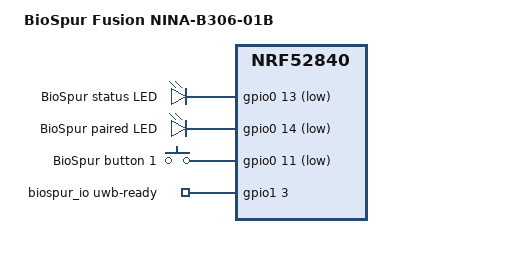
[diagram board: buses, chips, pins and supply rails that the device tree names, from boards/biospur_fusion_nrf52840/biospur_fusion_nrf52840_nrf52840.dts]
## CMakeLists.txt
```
cmake_minimum_required(VERSION 3.20.0)

find_package(Zephyr REQUIRED HINTS $ENV{ZEPHYR_BASE})
project(biospur_fusion_b306)

set(BSF_TIMER_COUNTER_BITS 32)
if(DEFINED ENV{BSF_TIMER_COUNTER_BITS})
  set(BSF_TIMER_COUNTER_BITS "$ENV{BSF_TIMER_COUNTER_BITS}")
endif()
if(NOT BSF_TIMER_COUNTER_BITS MATCHES "^(16|24|32)$")
  message(FATAL_ERROR
          "BSF_TIMER_COUNTER_BITS must be exactly 16, 24, or 32")
endif()

# Canonical firmware versions are decimal integers with no suffix. A changed
# image must increment this marker and firmware/VERSION together.
set(BSF_FW_MARKER "b306-imu-relay-v47")
if(DEFINED ENV{BSF_FW_MARKER})
  set(BSF_FW_MARKER "$ENV{BSF_FW_MARKER}")
endif()

# Generated from the complete build-input manifest. There is deliberately no
# default: a production image without an immutable identity must not build.
if(NOT DEFINED ENV{BSF_FWID})
  message(FATAL_ERROR "BSF_FWID is required; generate the OTA build manifest first")
endif()
set(BSF_FWID "$ENV{BSF_FWID}")
string(LENGTH "${BSF_FWID}" BSF_FWID_LENGTH)
if(NOT BSF_FWID MATCHES "^[0-9a-f]+$" OR NOT BSF_FWID_LENGTH EQUAL 64)
  message(FATAL_ERROR "BSF_FWID must be exactly 64 lowercase hexadecimal characters")
endif()

# ---------------------------------------------------------------------------
# v45 flash persistence (section 9).
#
# DEFAULT 0, and that is a finding, not an oversight. CONTEXT_AUDIT item 11:
# the deployed pm_static.yml tiles the whole 1 MiB with ZERO bytes free, and the
# only carve that overlaps nothing requires rebuilding and SWD-reflashing
# MCUboot on every board -- which Stage C, being OTA-only, cannot do. The
# implementation is complete and compiles; enabling it is a deliberate SWD
# campaign paired with pm_static_v45_corpse.yml, not a flag flip.
set(BSF_CORPSE_FLASH_ENABLED "0")
if(DEFINED ENV{BSF_CORPSE_FLASH_ENABLED})
  set(BSF_CORPSE_FLASH_ENABLED "$ENV{BSF_CORPSE_FLASH_ENABLED}")
endif()
if(NOT BSF_CORPSE_FLASH_ENABLED MATCHES "^[01]$")
  message(FATAL_ERROR "BSF_CORPSE_FLASH_ENABLED must be exactly 0 or 1")
endif()

# Fault injection has exactly ONE switch, and it is the Kconfig symbol
# CONFIG_BSF_V45_FAULT_INJECT (see Kconfig), set by overlay-validation.conf.
#
# It used to have two: a Kconfig symbol AND a CMake variable of the same name
# exported as a compile definition, with the C code guarding on the latter.
# Setting CONFIG_BSF_V45_FAULT_INJECT=y in a conf file therefore did NOTHING,
# silently, while looking exactly like it had worked. Two switches for one
# behaviour with only one of them wired is precisely the "looks configured,
# isn't" trap this project keeps paying for, so the CMake half is gone.
#
# The upside of keeping the Kconfig half rather than the CMake half: the
# setting lands in the build's own .config, so "production and validation
# differ only by the injection code" is a diffable fact rather than a claim.
if(CONFIG_BSF_V45_FAULT_INJECT)
  message(WARNING
    "CONFIG_BSF_V45_FAULT_INJECT=y: this image can DELIBERATELY INDUCE the "
    "wedge. Single-canary Stage B only -- never a fleet image.")
endif()

set(BSF_BOOT_CONFIRM_ENABLED "1")
if(DEFINED ENV{BSF_BOOT_CONFIRM_ENABLED})
  set(BSF_BOOT_CONFIRM_ENABLED "$ENV{BSF_BOOT_CONFIRM_ENABLED}")
endif()
if(NOT BSF_BOOT_CONFIRM_ENABLED MATCHES "^[01]$")
  message(FATAL_ERROR "BSF_BOOT_CONFIRM_ENABLED must be exactly 0 or 1")
endif()


# ---------------------------------------------------------------------------
# v43: the Bluetooth host carries stage instrumentation applied as a patch to
# the SHARED SDK at $ENV{ZEPHYR_BASE}. Refuse to build unless it is applied and
# hashes exactly. An image built against an unpatched host would look normal,
# link (the capture symbol would be missing -- but only at link time, and only
# if something references it), and silently produce blank corpses in the field.
# Gate before compiling, not after.
#
# v45 extends this to FIVE files across TWO roots (zephyr and nrf), so the
# manager moved to patches/sdk_patch.sh. The gate is unchanged in spirit: refuse
# to compile against an SDK that is neither exactly pristine nor exactly ours.
execute_process(
  COMMAND ${CMAKE_CURRENT_SOURCE_DIR}/patches/sdk_patch.sh verify
  RESULT_VARIABLE BSF_HOST_PATCH_RC
  OUTPUT_VARIABLE BSF_HOST_PATCH_OUT
  ERROR_VARIABLE  BSF_HOST_PATCH_ERR)
if(NOT BSF_HOST_PATCH_RC EQUAL 0)
  message(FATAL_ERROR
    "SDK instrumentation patch is not applied or does not hash correctly.\n"
    "  ${BSF_HOST_PATCH_ERR}\n"
    "  Run: B306_Part/firmware/patches/sdk_patch.sh apply")
endif()
message(STATUS "BSF SDK patch: ${BSF_HOST_PATCH_OUT}")

target_sources(app PRIVATE
  src/main.c
  src/imu.c
  src/strobe_capture.c
  src/bsf_v45.c
  src/bsf_recovery.c
  src/bsf_reset_intent.c
  src/bsf_v45_pools.c
)
target_include_directories(app PRIVATE
  ${CMAKE_CURRENT_SOURCE_DIR}/../include
  ${ZEPHYR_MCUBOOT_MODULE_DIR}/boot/bootutil/include
  ${ZEPHYR_MCUBOOT_MODULE_DIR}/boot/bootutil/zephyr/include
  ${ZEPHYR_MCUBOOT_MODULE_DIR}/boot/zephyr/include
)
# Global, not app-private: subsys/bluetooth/host/conn.c is built as part of
# a Zephyr library and resolves <bsf_bt_stage.h> through zephyr_interface.
zephyr_include_directories(${CMAKE_CURRENT_SOURCE_DIR}/src)
zephyr_include_directories(${CMAKE_CURRENT_SOURCE_DIR}/../include)
target_compile_definitions(app PRIVATE
	BSF_TIMER_COUNTER_BITS=${BSF_TIMER_COUNTER_BITS}
	BSF_FW_MARKER="${BSF_FW_MARKER}"
	BSF_FWID="${BSF_FWID}"
	BSF_BOOT_CONFIRM_ENABLED=${BSF_BOOT_CONFIRM_ENABLED}
	BSF_CORPSE_FLASH_ENABLED=${BSF_CORPSE_FLASH_ENABLED}
)
```

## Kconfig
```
# B306 application Kconfig.
#
# WHY AN APPLICATION Kconfig EXISTS AT ALL
# ----------------------------------------
# ~/ncs/v2.8.0 is a SHARED SDK install, compiled by every project that builds
# against it -- the Fusion Master DK image included. v45 patches five SDK files,
# and section 14 requires that "unrelated SDK consumers must still compile with
# instrumentation neutralized (guard everything behind a dedicated Kconfig,
# default n, selected only by the B306 app)".
#
# An application Kconfig is exactly that mechanism: symbols defined here land in
# autoconf.h, which every compiled file in the build sees -- including the
# patched SDK ones. A project that does not define BSF_V45_TRACE gets the
# neutralised macros and byte-identical object code.
#
# The patched files additionally test __has_include(<bsf_v45_trace.h>), which
# only this application puts on the global include path. Belt and braces: either
# condition failing disables the instrumentation completely.

menu "BioSpur Fusion B306"

config BSF_V45_TRACE
	bool "v45 four-channel BT trace instrumentation"
	default n
	help
	  Enables the BSF_V45_* markers in the patched NCS Bluetooth host and
	  SoftDevice Controller HCI driver, the four single-writer trace
	  channels, the dual-watermark wedge detector and the v45 corpse.

	  Leave this off for every project other than the B306 application.
	  With it off, every marker collapses to ((void)0) and the patched SDK
	  files produce the same object code as the pristine ones.

config BSF_V45_FAULT_INJECT
	bool "v45 fault-injection hooks (VALIDATION BUILDS ONLY)"
	default n
	depends on BSF_V45_TRACE
	help
	  Compiles in the V45 LEAK / V45 LEAK OFF vendor commands, which take
	  and release the singleton sync_evt_pool buffer.

	  This deliberately induces the suspected failure. It must never be
	  enabled in a fleet image. Stage B uses it on a single canary board to
	  prove the starvation -> phenotype consequence chain; that is a
	  different claim from "real wedges begin this way", and the run brief
	  must not conflate them.

endmenu

source "Kconfig.zephyr"
```

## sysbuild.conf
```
# The first and every later B306 image boots through MCUboot.
SB_CONFIG_BOOTLOADER_MCUBOOT=y
SB_CONFIG_BOOT_SIGNATURE_TYPE_ECDSA_P256=y
SB_CONFIG_BOOT_SIGNATURE_KEY_FILE="/home/zekaixiao/.config/biospur/keys/b306_mcuboot_ec_p256.pem"
```

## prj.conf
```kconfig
# B306 UART bridge: signed MCUboot + BLE SMP + DWM1001C UART ingest.
CONFIG_GPIO=y
CONFIG_SERIAL=y
CONFIG_UART_ASYNC_API=y
CONFIG_RING_BUFFER=y
CONFIG_I2C=y
CONFIG_NRFX_PPI=y
CONFIG_NRFX_TIMER2=y
CONFIG_WATCHDOG=y

CONFIG_BOOTLOADER_MCUBOOT=y
CONFIG_DISABLE_FLASH_PATCH=y
CONFIG_FLASH=y
CONFIG_FLASH_MAP=y
CONFIG_STREAM_FLASH=y
CONFIG_IMG_MANAGER=y

CONFIG_NET_BUF=y
CONFIG_ZCBOR=y
CONFIG_CRC=y
CONFIG_MCUMGR=y
CONFIG_MCUMGR_GRP_IMG=y
CONFIG_MCUMGR_GRP_OS=y
CONFIG_MCUMGR_GRP_OS_MCUMGR_PARAMS=y
CONFIG_MCUMGR_TRANSPORT_BT=y
CONFIG_MCUMGR_TRANSPORT_BT_PERM_RW=y
CONFIG_MCUMGR_TRANSPORT_BT_CONN_PARAM_CONTROL=y
CONFIG_MCUMGR_TRANSPORT_BT_REASSEMBLY=y
CONFIG_MCUMGR_TRANSPORT_NETBUF_SIZE=2048
CONFIG_MCUMGR_TRANSPORT_WORKQUEUE_STACK_SIZE=4096

CONFIG_BT=y
CONFIG_BT_PERIPHERAL=y
CONFIG_BT_MAX_CONN=1
CONFIG_NET_BUF_POOL_USAGE=y
CONFIG_BT_DEVICE_NAME="BSF0000"
CONFIG_BT_DEVICE_NAME_DYNAMIC=y
CONFIG_BT_DEVICE_NAME_MAX=8
CONFIG_BT_GAP_PERIPHERAL_PREF_PARAMS=y
# Match the established fast OTA path. ATT can carry a 448-byte SMP chunk;
# Link Layer DLE remains 251 bytes and L2CAP segments the larger ATT PDU.
CONFIG_BT_L2CAP_TX_MTU=498
CONFIG_BT_BUF_ACL_RX_SIZE=502
CONFIG_BT_BUF_ACL_TX_SIZE=502
CONFIG_BT_CTLR_DATA_LENGTH_MAX=251
CONFIG_BT_USER_PHY_UPDATE=y
CONFIG_BT_USER_DATA_LEN_UPDATE=y
CONFIG_BT_ATT_TX_COUNT=8
CONFIG_BT_L2CAP_TX_BUF_COUNT=8
CONFIG_BT_BUF_ACL_TX_COUNT=8
CONFIG_BT_CTLR_SDC_TX_PACKET_COUNT=6

CONFIG_LOG=y
CONFIG_LOG_DEFAULT_LEVEL=3
CONFIG_LOG_MODE_DEFERRED=y
CONFIG_LOG_BACKEND_RTT=y
CONFIG_LOG_BACKEND_RTT_MODE_DROP=y
CONFIG_LOG_BACKEND_UART=n
CONFIG_USE_SEGGER_RTT=y
CONFIG_SEGGER_RTT_MODE_NO_BLOCK_SKIP=y
CONFIG_CONSOLE=y
CONFIG_RTT_CONSOLE=y
CONFIG_UART_CONSOLE=n
CONFIG_PRINTK=y

# No production B306 code calls the C allocator.  Keep this explicit so a
# build can never consume an unbounded "all remaining RAM" arena.
CONFIG_COMMON_LIBC_MALLOC_ARENA_SIZE=0
CONFIG_HEAP_MEM_POOL_SIZE=0

CONFIG_MAIN_STACK_SIZE=2048
CONFIG_SYSTEM_WORKQUEUE_STACK_SIZE=3072
CONFIG_LOG_PROCESS_THREAD_STACK_SIZE=1024

# Runtime stack high-water reporting is required before any stack is reduced.
CONFIG_THREAD_ANALYZER=y
CONFIG_THREAD_ANALYZER_USE_LOG=y
CONFIG_THREAD_ANALYZER_AUTO=y
CONFIG_THREAD_ANALYZER_AUTO_INTERVAL=60
CONFIG_THREAD_ANALYZER_AUTO_STACK_SIZE=1024
CONFIG_THREAD_NAME=y

# --- v45 -------------------------------------------------------------------
# The dedicated Kconfig of section 14. Only this application sets it; every
# other consumer of the shared SDK compiles the patched files with every marker
# neutralised.
CONFIG_BSF_V45_TRACE=y

# The detector must not fire during a DFU. A 4.1 s bt_gatt_notify() was measured
# during one, and an upload monopolises the same ATT bearer the notifications
# use. These two hooks let MCUmgr say so directly instead of us inferring it
# from pool occupancy, which would be an indirect and racy proxy.
CONFIG_MCUMGR_MGMT_NOTIFICATION_HOOKS=y
CONFIG_MCUMGR_GRP_IMG_STATUS_HOOKS=y
```

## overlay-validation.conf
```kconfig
# Stage B validation overlay -- SINGLE CANARY ONLY (BSF6C53).
#
# The ONLY difference from the production v45 image. Everything else -- the four
# trace channels, the dual-watermark detector, the corpse, the frozen buffer
# counts -- is identical, and `diff` over the two builds' .config files is the
# proof rather than the claim.
#
# What this adds: the V45 LEAK / V45 LEAK OFF vendor commands, which take and
# release the singleton sync_evt_pool buffer. That deliberately induces the
# suspected failure. An image carrying it must never reach the fleet, and the
# build prints a WARNING saying so.
CONFIG_BSF_V45_FAULT_INJECT=y
```

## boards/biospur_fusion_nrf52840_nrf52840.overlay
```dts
&uwb_uart {
	/* Existing PCB wiring: RX=P1.01, TX=P1.02. */
	status = "okay";
};

&imu_i2c {
	/* Existing PCB wiring: SDA=P0.26, SCL=P0.27, 400 kHz. */
	status = "okay";
};
```

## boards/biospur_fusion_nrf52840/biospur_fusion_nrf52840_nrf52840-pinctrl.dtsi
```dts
/*
 * BioSpur Fusion NINA-B306 pin control
 *
 * SPDX-License-Identifier: Apache-2.0
 */

&pinctrl {
	uwb_uart_default: uwb_uart_default {
		tx_group {
			/* NINA GPIO_36: B306 TX toward DWM1001C UART_RX. */
			psels = <NRF_PSEL(UART_TX, 1, 2)>;
		};

		rx_group {
			/* NINA GPIO_35: B306 RX from DWM1001C UART_TX. */
			psels = <NRF_PSEL(UART_RX, 1, 1)>;
			bias-pull-up;
		};
	};

	uwb_uart_sleep: uwb_uart_sleep {
		group1 {
			psels = <NRF_PSEL(UART_TX, 1, 2)>,
				<NRF_PSEL(UART_RX, 1, 1)>;
			low-power-enable;
		};
	};

	imu_i2c_default: imu_i2c_default {
		group1 {
			/*
			 * B306 nRF52840 P0.26 is JY61P SDA.
			 * Do not confuse it with DWM1001C nRF52832 P0.26,
			 * which is the sweep-strobe output on the other MCU.
			 */
			psels = <NRF_PSEL(TWIM_SDA, 0, 26)>,
				<NRF_PSEL(TWIM_SCL, 0, 27)>;
		};
	};

	imu_i2c_sleep: imu_i2c_sleep {
		group1 {
			psels = <NRF_PSEL(TWIM_SDA, 0, 26)>,
				<NRF_PSEL(TWIM_SCL, 0, 27)>;
			low-power-enable;
		};
	};
};
```

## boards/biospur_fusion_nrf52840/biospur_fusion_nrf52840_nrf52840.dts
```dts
/*
 * BioSpur Fusion PCB: u-blox NINA-B306-01B (nRF52840)
 *
 * SPDX-License-Identifier: Apache-2.0
 */

/dts-v1/;
#include <nordic/nrf52840_qiaa.dtsi>
#include <nordic/nrf52840_partition.dtsi>
#include "biospur_fusion_nrf52840_nrf52840-pinctrl.dtsi"
#include <zephyr/dt-bindings/input/input-event-codes.h>

/ {
	model = "BioSpur Fusion NINA-B306-01B";
	compatible = "biospur,fusion-nrf52840";

	/*
	 * These aliases describe physical PCB wiring. The UART and I2C
	 * controllers remain disabled in the first DFU image and are enabled
	 * only by the later ingest firmware.
	 */
	aliases {
		led0 = &status_led;
		led1 = &paired_led;
		sw0 = &button_1;
		uwb-uart = &uwb_uart;
		imu-i2c = &imu_i2c;
	};

	leds {
		compatible = "gpio-leds";

		status_led: status_led {
			/* NINA GPIO_1; LED and 220 ohm resistor return to +3V3. */
			gpios = <&gpio0 13 GPIO_ACTIVE_LOW>;
			label = "BioSpur status LED";
		};

		paired_led: paired_led {
			/* NINA GPIO_2 -> nRF52840 P0.14; same active-low PCB LED. */
			gpios = <&gpio0 14 GPIO_ACTIVE_LOW>;
			label = "BioSpur paired LED";
		};
	};

	buttons {
		compatible = "gpio-keys";

		button_1: button_1 {
			/* NINA GPIO_32. */
			gpios = <&gpio0 11 (GPIO_PULL_UP | GPIO_ACTIVE_LOW)>;
			label = "BioSpur button 1";
			zephyr,code = <INPUT_KEY_0>;
		};
	};

	biospur_io: biospur_io {
		compatible = "zephyr,user";

		/* NINA GPIO_37: sweep strobe input from DWM1001C P0.26. */
		uwb-ready-gpios = <&gpio1 3 GPIO_ACTIVE_HIGH>;
	};
};

&reg1 {
	regulator-initial-mode = <NRF5X_REG_MODE_DCDC>;
};

&uicr {
	gpio-as-nreset;
};

&gpiote {
	status = "okay";
};

&gpio0 {
	status = "okay";
};

&gpio1 {
	status = "okay";
};

uwb_uart: &uart1 {
	compatible = "nordic,nrf-uarte";
	current-speed = <460800>;
	pinctrl-0 = <&uwb_uart_default>;
	pinctrl-1 = <&uwb_uart_sleep>;
	pinctrl-names = "default", "sleep";
	status = "disabled";
};

imu_i2c: &i2c0 {
	compatible = "nordic,nrf-twim";
	clock-frequency = <I2C_BITRATE_FAST>;
	pinctrl-0 = <&imu_i2c_default>;
	pinctrl-1 = <&imu_i2c_sleep>;
	pinctrl-names = "default", "sleep";
	status = "disabled";
};
```

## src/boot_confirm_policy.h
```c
#ifndef BIOSPUR_BOOT_CONFIRM_POLICY_H_
#define BIOSPUR_BOOT_CONFIRM_POLICY_H_

#include <stdbool.h>
#include <stdint.h>

struct bsf_boot_confirm_policy {
	uint32_t token;
	bool required;
	bool prepared;
	bool committed;
};

static inline void bsf_boot_confirm_policy_init(
	struct bsf_boot_confirm_policy *policy, bool image_confirmed)
{
	*policy = (struct bsf_boot_confirm_policy) {
		.required = !image_confirmed,
	};
}

static inline bool bsf_boot_confirm_policy_prepare(
	struct bsf_boot_confirm_policy *policy, bool connected, bool subscribed,
	uint32_t token)
{
	if (!policy->required || !connected || !subscribed || token == 0u) {
		return false;
	}
	policy->token = token;
	policy->prepared = true;
	policy->committed = false;
	return true;
}

static inline bool bsf_boot_confirm_policy_commit(
	struct bsf_boot_confirm_policy *policy, uint32_t token)
{
	if (!policy->required || !policy->prepared || token != policy->token) {
		return false;
	}
	policy->committed = true;
	return true;
}

static inline bool bsf_boot_confirm_policy_may_confirm(
	const struct bsf_boot_confirm_policy *policy, bool connected,
	bool subscribed)
{
	return policy->required && policy->prepared && policy->committed &&
		connected && subscribed;
}

#endif /* BIOSPUR_BOOT_CONFIRM_POLICY_H_ */
```

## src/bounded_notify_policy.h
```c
#ifndef BIOSPUR_BOUNDED_NOTIFY_POLICY_H
#define BIOSPUR_BOUNDED_NOTIFY_POLICY_H

#include <stdbool.h>
#include <stdint.h>

struct bsf_bounded_notify_policy {
	bool worker_busy;
	bool fast_drop;
	uint32_t submitted;
	uint32_t timeout_drops;
};

static inline bool bsf_notify_submit(struct bsf_bounded_notify_policy *state)
{
	if (state->worker_busy) {
		state->timeout_drops++;
		state->fast_drop = true;
		return false;
	}
	state->worker_busy = true;
	state->submitted++;
	return true;
}

static inline void bsf_notify_complete(struct bsf_bounded_notify_policy *state)
{
	state->worker_busy = false;
	state->fast_drop = false;
}

#endif
```

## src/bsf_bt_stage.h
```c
/*
 * BT RX stage instrumentation -- v43 (batch v43_selfcapture_20260807).
 *
 * This header is shared between the application and a PATCHED copy of the
 * NCS v2.8.0 Bluetooth host (`subsys/bluetooth/host/conn.c`). It is placed on
 * the global Zephyr include path by the application's CMakeLists, so the
 * patched host file can `#include <bsf_bt_stage.h>` without a relative path.
 *
 * WHY THIS EXISTS
 * ---------------
 * The B306 wedges with its BLE link alive, its tag transmitting, and no UWB or
 * IMU export. J1 and the BT-RX wedge audit localised it: `disconnected()` is
 * dispatched from the SYSTEM workqueue, which is provably alive throughout the
 * failure (it feeds the watchdog and no board ever reset), yet the callback
 * never runs. So `bt_conn_set_state(DISCONNECTED)` never reached its final
 *
 *     k_work_reschedule(&conn->deferred_work, K_NO_WAIT);
 *
 * The three operations there are, in order:
 *
 *     bt_conn_tx_notify(conn, true)   <- the only one that can block
 *     bt_conn_reset_rx_state(conn)
 *     k_work_reschedule(...)          <- never reached
 *
 * and `bt_conn_recv()` calls the same `bt_conn_tx_notify(conn, true)` before
 * processing EVERY incoming ACL packet, so a wedge there explains the export
 * stall as well as the disconnect failure. One wedge point, all four symptoms.
 *
 * This instrumentation records which of those operations the BT RX workqueue
 * thread is sitting in, so a sealed board can answer the question itself.
 *
 * COST CONTRACT (brief section 5)
 * -------------------------------
 * On the normal path a transition may only write RAM. No LOG_*, no allocation,
 * no sleep, no mutex, no semaphore, no work submission, no flash. The marker is
 * a `static inline` over plain 32-bit stores, which are single-copy atomic on
 * Cortex-M. There is exactly ONE writer -- the BT RX workqueue thread -- and the
 * monitor thread is a pure reader, so no lock is required in either direction.
 * The instrumented build must behave like v41.
 */
#ifndef BSF_BT_STAGE_H_
#define BSF_BT_STAGE_H_

#include <stdint.h>
#include <zephyr/kernel.h>

#ifdef __cplusplus
extern "C" {
#endif

/*
 * Stage IDs. The order matters only for readability; the decoder maps by value,
 * so values must never be renumbered once an image has shipped.
 *
 * TX_NOTIFY_DIRECT is not in the brief's minimum list. It is the branch
 * `bt_conn_tx_notify()` takes when it is already running on the TX-notify
 * workqueue thread and therefore calls `tx_notify_process()` inline instead of
 * submitting and flushing. Instrumenting it separately is what stops that
 * (harmless, non-blocking) path from being mistaken for a flush wedge.
 */
enum bsf_bt_stage {
	BSF_BT_STAGE_IDLE                       = 0,
	BSF_BT_STAGE_CONN_RECV_ENTER            = 1,
	BSF_BT_STAGE_TX_NOTIFY_ENTER            = 2,
	BSF_BT_STAGE_TX_NOTIFY_BEFORE_SUBMIT    = 3,
	BSF_BT_STAGE_TX_NOTIFY_AFTER_SUBMIT     = 4,
	BSF_BT_STAGE_TX_NOTIFY_BEFORE_FLUSH     = 5,
	BSF_BT_STAGE_TX_NOTIFY_AFTER_FLUSH      = 6,
	BSF_BT_STAGE_TX_NOTIFY_EXIT             = 7,
	BSF_BT_STAGE_RESET_RX_BEFORE            = 8,
	BSF_BT_STAGE_RESET_RX_AFTER             = 9,
	BSF_BT_STAGE_DEFERRED_RESCHEDULE_BEFORE = 10,
	BSF_BT_STAGE_DEFERRED_RESCHEDULE_AFTER  = 11,
	BSF_BT_STAGE_CONN_RECV_EXIT             = 12,
	BSF_BT_STAGE_TX_NOTIFY_DIRECT           = 13,
	/*
	 * v44. APPENDED, never renumbered: decoded corpses carry the numeric
	 * value, so renumbering silently reinterprets every corpse ever taken.
	 */
	BSF_BT_STAGE_RX_WORK_ENTER              = 14,
	BSF_BT_STAGE_RX_WORK_EXIT               = 15,
	BSF_BT_STAGE_ACL_RECV_ENTER             = 16,
	BSF_BT_STAGE_ACL_RECV_EXIT              = 17,
	BSF_BT_STAGE_ATT_ALLOC_RESPONSE         = 18,
	BSF_BT_STAGE_ATT_ALLOC_FOREVER          = 19,
	BSF_BT_STAGE_ATT_ALLOC_DONE             = 20,
	BSF_BT_STAGE__COUNT
};

/*
 * TERMINAL stages -- v44 makes this PROVABLE instead of enumerated.
 *
 * `rx_work_handler()` in hci_core.c is the SINGLE entry point for everything
 * the BT RX workqueue thread ever does: ACL, HCI events and ISO all dispatch
 * from its one switch. v44 brackets that switch, so:
 *
 *     the BT RX WQ is quiescent  <=>  it is not inside rx_work_handler()
 *
 * That is a complete statement, not a list someone has to keep correct. Every
 * blocking primitive reachable from this thread -- the ATT allocations at
 * att.c:729/1191/1399/3059, the L2CAP signalling alloc at l2cap.c:464, and the
 * HCI command paths at hci_core.c:311/429/4721 -- is inside the bracket.
 *
 * WHY THE PREVIOUS LIST FAILED, in one line: TX_NOTIFY_EXIT was terminal, and
 * `bt_conn_recv()` calls tx_notify at its HEAD and then descends into
 * bt_acl_recv() with no further mark. The monitor read "quiescent" while the
 * thread sat in ATT, and a real wedge on BSF6C53 went uncaptured.
 *
 * The root error was classifying a stage BY NAME rather than by which call
 * sites can leave it as the last mark. Note the trap that catches: v44's own
 * audit found a THIRD caller of bt_conn_tx_notify() --
 * hci_num_completed_packets() at hci_core.c:608, on this same thread -- where
 * TX_NOTIFY_EXIT genuinely IS the last mark. Simply reclassifying it, as the
 * obvious fix suggested, would have false-positive-rebooted the whole fleet
 * within 5 s of any pause in traffic. It is safe now ONLY because
 * RX_WORK_EXIT always follows it.
 */
#define BSF_BT_STAGE_IS_QUIESCENT(s)                                          \
	((s) == BSF_BT_STAGE_IDLE ||                                          \
	 (s) == BSF_BT_STAGE_RX_WORK_EXIT)

/* Event codes, carried alongside the stage in the flight recorder. */
#define BSF_BT_EVENT_STAGE       0u   /* ordinary stage transition          */
#define BSF_BT_EVENT_DISCONNECT  1u   /* HCI disconnect state transition    */
#define BSF_BT_EVENT_MONITOR     2u   /* monitor observation                */

#define BSF_BT_TRACE_ENTRIES 128u     /* power of two; 128 * 12 B = 1536 B  */

struct bsf_bt_trace_entry {
	uint32_t cycles;
	uint16_t stage;
	uint16_t event;
	uint32_t arg;
};

/* Defined once, in bsf_bt_stage.c. */
extern struct bsf_bt_trace_entry bsf_bt_trace[BSF_BT_TRACE_ENTRIES];
extern volatile uint32_t bsf_bt_trace_head;   /* monotonic; index = head & mask */
extern volatile uint32_t bsf_bt_stage_seq;    /* monotonic transition counter   */
extern volatile uint32_t bsf_bt_stage_cycles; /* k_cycle_get_32() at entry      */
extern volatile uint32_t bsf_bt_stage_arg;
extern volatile uint16_t bsf_bt_stage_id;
extern volatile uint32_t bsf_bt_rx_thread;    /* &bt_workq.thread, published once */

/*
 * Per-stage maximum observed dwell, in cycles, updated as each stage is LEFT.
 *
 * This is what justifies the monitor's 5 s threshold with a measured margin
 * instead of an assumed one (brief sections 7 and 11). Sampling the age from
 * the 1 Hz monitor could not do it: healthy stages last microseconds, so a 1 Hz
 * sampler would almost never observe one in flight. Measuring on the transition
 * itself catches every occurrence.
 */
extern volatile uint32_t bsf_bt_stage_max[BSF_BT_STAGE__COUNT];

/*
 * Single-writer marker.
 *
 * Store order is deliberate: the payload (cycles, arg, stage) is published
 * BEFORE the sequence counter, so a reader that observes a new `seq` is
 * guaranteed to see the stage that belongs to it. The monitor only ever tests
 * `seq` for change and `cycles` for age, so a torn read is impossible -- every
 * field is a single aligned 32- or 16-bit store.
 */
static inline void bsf_bt_stage_mark(uint16_t stage, uint16_t event, uint32_t arg)
{
	uint32_t now = k_cycle_get_32();
	uint32_t head = bsf_bt_trace_head;
	struct bsf_bt_trace_entry *slot =
		&bsf_bt_trace[head & (BSF_BT_TRACE_ENTRIES - 1u)];
	uint16_t prev = bsf_bt_stage_id;
	uint32_t dwell = now - bsf_bt_stage_cycles;

	/* Close out the stage being left before publishing the new one. */
	if (prev < BSF_BT_STAGE__COUNT && dwell > bsf_bt_stage_max[prev]) {
		bsf_bt_stage_max[prev] = dwell;
	}

	slot->cycles = now;
	slot->stage = stage;
	slot->event = event;
	slot->arg = arg;
	bsf_bt_trace_head = head + 1u;

	bsf_bt_stage_cycles = now;
	bsf_bt_stage_arg = arg;
	bsf_bt_stage_id = stage;
	bsf_bt_stage_seq++;
}

#define BSF_BT_STAGE(s)          bsf_bt_stage_mark((s), BSF_BT_EVENT_STAGE, 0u)
#define BSF_BT_STAGE_A(s, a)     bsf_bt_stage_mark((s), BSF_BT_EVENT_STAGE, (uint32_t)(a))
#define BSF_BT_EVENT(s, e, a)    bsf_bt_stage_mark((s), (e), (uint32_t)(a))

/*
 * Connection fields the corpse needs. Every one of these lives inside
 * `struct bt_conn`, which is private to the host (`conn_internal.h`), so the
 * capture function is implemented INSIDE the patched conn.c where the struct is
 * complete. The application never sees the layout -- it only sees this struct.
 *
 * Read against the actual v2.8.0 layout, never against current Zephyr main.
 */
struct bsf_bt_corpse_conn {
	uint32_t conn_addr;
	uint32_t rx_ptr;
	uint16_t rx_len;
	uint16_t handle;
	uint8_t  state;
	uint8_t  err;
	uint8_t  type;
	uint8_t  role;
	int32_t  tx_complete_busy;   /* k_work_busy_get(&conn->tx_complete_work) */
	int32_t  deferred_busy;      /* k_work_delayable_busy_get(&deferred_work) */
	uint16_t tx_pending;         /* entries on conn->tx_pending              */
	uint16_t tx_complete;        /* entries on conn->tx_complete             */
	uint32_t pkts_avail;         /* k_sem_count_get(bt_conn_get_pkts(conn))  */
	uint8_t  valid;              /* 0 = no connection object found           */
	uint8_t  reserved[3];
};

/* Implemented in the patched conn.c. Safe to call from a thread context. */
void bsf_bt_capture_conn(struct bsf_bt_corpse_conn *out);

#ifdef __cplusplus
}
#endif

#endif /* BSF_BT_STAGE_H_ */
```

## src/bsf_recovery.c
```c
/* v46 wedge recovery guard. See bsf_recovery.h for why it exists and why it
 * resets rather than disconnects. */
#include <string.h>

#include <zephyr/kernel.h>
#include <zephyr/logging/log.h>
#include <zephyr/sys/crc.h>
#include <zephyr/sys/reboot.h>

#include "bsf_recovery.h"
#include "bsf_reset_intent.h"
#include "bsf_v45.h"
#include "bsf_v45_detector.h"

LOG_MODULE_REGISTER(bsf_recovery, LOG_LEVEL_INF);

#define RECOVERY_MAGIC 0x52435634u   /* "RCV4" */

/*
 * The witness. `.noinit` because it must be readable AFTER the reset it
 * describes -- the same lifetime rule that has already cost this project
 * `bsf_v45_frozen` and `v45_flash_slot_next`, both of which were in `.bss` and
 * were therefore zeroed by exactly the event they were meant to record.
 *
 * CRC-protected because `.noinit` is uninitialised on a power-on and a
 * plausible-looking garbage witness is worse than no witness.
 */
struct bsf_recovery_witness {
	uint32_t magic;
	uint32_t resets;          /* cumulative across soft resets  */
	uint32_t uptime_ms;       /* at the moment of the trigger   */
	uint32_t epoch;
	uint32_t notify_ok_total;
	uint32_t notconn_streak;
	uint32_t frozen_ms;
	uint8_t  cause;
	uint8_t  streak;          /* consecutive guard resets       */
	uint8_t  latched;         /* gave up: streak limit reached  */
	uint8_t  pad;
	uint32_t crc32;           /* over everything above          */
};

__attribute__((section(".noinit")))
static struct bsf_recovery_witness bsf_rcv;

static uint32_t witness_crc(const struct bsf_recovery_witness *w)
{
	return crc32_ieee((const uint8_t *)w,
			  offsetof(struct bsf_recovery_witness, crc32));
}

static bool witness_valid(void)
{
	return bsf_rcv.magic == RECOVERY_MAGIC &&
	       bsf_rcv.crc32 == witness_crc(&bsf_rcv);
}

static void witness_seal(void)
{
	bsf_rcv.magic = RECOVERY_MAGIC;
	bsf_rcv.crc32 = witness_crc(&bsf_rcv);
}

static int bsf_recovery_early_init(void)
{
	if (!witness_valid()) {
		memset(&bsf_rcv, 0, sizeof(bsf_rcv));
		witness_seal();
	}
	return 0;
}
/* Before any thread can read it, and before the guard thread starts. */
SYS_INIT(bsf_recovery_early_init, PRE_KERNEL_1, 0);

void bsf_recovery_report(uint32_t *resets, uint8_t *cause, uint32_t *frozen_ms,
			 uint8_t *streak, uint8_t *latched)
{
	*resets = bsf_rcv.resets;
	*cause = bsf_rcv.cause;
	*frozen_ms = bsf_rcv.frozen_ms;
	*streak = bsf_rcv.streak;
	*latched = bsf_rcv.latched;
}

static void recover(uint8_t cause, const struct bsf_v45_env *env,
		    uint32_t now_ms, uint32_t frozen_ms)
{
	if (bsf_rcv.streak >= BSF_RECOVERY_MAX_STREAK) {
		if (!bsf_rcv.latched) {
			bsf_rcv.latched = 1u;
			witness_seal();
			LOG_ERR("V46 RECOVERY LATCHED after %u consecutive "
				"resets -- not resetting again, cause=%u",
				bsf_rcv.streak, cause);
		}
		return;
	}

	bsf_rcv.resets++;
	bsf_rcv.streak++;
	bsf_rcv.cause = cause;
	bsf_rcv.uptime_ms = now_ms;
	bsf_rcv.epoch = env->epoch;
	bsf_rcv.notify_ok_total = env->notify_ok_total;
	bsf_rcv.notconn_streak = env->notconn_streak;
	bsf_rcv.frozen_ms = frozen_ms;
	witness_seal();

	LOG_ERR("V46 RECOVERY cause=%u frozen_ms=%u epoch=%u notify_ok=%u "
		"streak=%u -- resetting", cause, frozen_ms, env->epoch,
		env->notify_ok_total, bsf_rcv.streak);

	/*
	 * Bounded, node-derived jitter. Ten boards that wedge together must not
	 * come back together and re-collide on the master's connection slots.
	 * Deterministic per node so a given board's behaviour is reproducible.
	 */
	/* Reuse the detector's node-derived jitter, clamped to this guard's own
	 * bound so the two mechanisms cannot drift apart. */
	k_sleep(K_MSEC(bsf_v45_reboot_jitter_ms(env->node_identity) %
		       (BSF_RECOVERY_JITTER_MS + 1u)));

	/*
	 * COLD, not WARM. The controller must come up in step with the host:
	 * wedge #2 had the host holding no conn object while the controller
	 * still owned the link, and only a full-chip reset puts the two back in
	 * agreement. A warm reboot has also been observed (anchor OTA work) to
	 * leave peers unable to reconnect.
	 */
	bsf_reset_now(BSF_RESET_INTENT_RECOVERY_GUARD);
}

static void guard_thread(void *a, void *b, void *c)
{
	struct bsf_v45_env env;
	uint32_t last_notify_ok = 0u;
	uint32_t last_attempt = 0u;
	uint32_t last_timeout_drops = 0u;
	uint32_t notify_ok_moved_ms = 0u;
	uint32_t healthy_since_ms = 0u;
	uint32_t last_epoch = 0u;
	bool seeded = false;

	ARG_UNUSED(a); ARG_UNUSED(b); ARG_UNUSED(c);

	if (witness_valid() && bsf_rcv.resets > 0u) {
		LOG_WRN("V46 recovery witness: resets=%u cause=%u frozen_ms=%u "
			"streak=%u latched=%u", bsf_rcv.resets, bsf_rcv.cause,
			bsf_rcv.frozen_ms, bsf_rcv.streak, bsf_rcv.latched);
	}

	while (true) {
		uint32_t now_ms;
		bool armed;

		k_sleep(K_MSEC(BSF_RECOVERY_TICK_MS));
		bsf_v45_env_get(&env);
		now_ms = k_uptime_get_32();

		/* A reconnect voids every dwell. */
		if (env.epoch != last_epoch) {
			last_epoch = env.epoch;
			seeded = false;
		}

		/*
		 * `env.connected` is the APPLICATION flag (atomic ble_connected),
		 * deliberately NOT conn->state. During wedge #2 the host had
		 * released its conn object entirely, so conn->state read
		 * DISCONNECTED and would have disarmed the guard for a second,
		 * independent reason -- in the very state it must fire. Do not
		 * "fix" this to read the stack.
		 */
		/* OTA suppression: bsf_v45_ota_mark() already gates the v45
		 * detector; the guard reads the same state through the env's
		 * subscription flags, which DFU clears. */
		armed = env.connected && env.data_subscribed &&
			(now_ms - env.connected_at_ms) >= BSF_RECOVERY_GRACE_MS;

		if (!armed) {
			seeded = false;
			continue;
		}

		if (!seeded) {
			last_notify_ok = env.notify_ok_total;
			last_attempt = env.notify_attempt_total;
			last_timeout_drops = env.notify_timeout_drop_total;
			notify_ok_moved_ms = now_ms;
			seeded = true;
			continue;
		}

		if (env.notify_ok_total != last_notify_ok) {
			last_notify_ok = env.notify_ok_total;
			notify_ok_moved_ms = now_ms;

			/*
			 * Healthy delivery clears the boot-loop streak, but
			 * only after a long stretch of it. A board that
			 * recovers, delivers for two seconds and wedges again
			 * is still in a loop.
			 */
			if (healthy_since_ms == 0u) {
				healthy_since_ms = now_ms;
			} else if (bsf_rcv.streak != 0u &&
				   (now_ms - healthy_since_ms) >=
					   BSF_RECOVERY_HEALTHY_MS) {
				LOG_INF("V46 recovery streak cleared after 30 min healthy");
				bsf_rcv.streak = 0u;
				bsf_rcv.latched = 0u;
				witness_seal();
			}
		} else {
			/* Unsigned subtraction: correct across the 49.7-day
			 * k_uptime_get_32() wrap without a special case. */
			uint32_t frozen_ms = now_ms - notify_ok_moved_ms;
			bool attempting = env.notify_attempt_total != last_attempt;
			bool stuck_in_call = env.notify_in_call &&
				env.notify_in_call_age_ms >= BSF_RECOVERY_FREEZE_MS;
			bool dropping = env.notify_timeout_drop_total !=
					last_timeout_drops;
			bool had_work = attempting || stuck_in_call || dropping;

			healthy_since_ms = 0u;
			/*
			 * v46r2/1.1. Completions frozen is necessary but NOT
			 * sufficient. Without attempts advancing this is an idle
			 * board with nothing to send, and resetting it would be
			 * a false trigger -- the failure mode that costs a
			 * reboot and contaminates the rate statistics.
			 */
			/*
			 * v46r2/1.2. The second half MUST be a DISJUNCTION.
			 * In the classic fleet terminal state the worker parks
			 * INSIDE bt_gatt_notify() on att.c's K_FOREVER, so no
			 * further attempt is ever counted -- a bare "attempts
			 * advancing" conjunction could never be satisfied and
			 * the arm would be dead exactly where it is needed.
			 *   attempting    -- submissions still being made
			 *   stuck_in_call -- one in flight >= 12 s == parked
			 *   dropping      -- the queue is shedding on timeout
			 */
			if (had_work && frozen_ms >= BSF_RECOVERY_FREEZE_MS) {
				recover(BSF_RECOVERY_CAUSE_NOTIFY_FROZEN, &env,
					now_ms, frozen_ms);
				seeded = false;
			}
		}
		last_attempt = env.notify_attempt_total;
		last_timeout_drops = env.notify_timeout_drop_total;

		/*
		 * Second arm, and a faster one. The node contradicting itself:
		 * the application believes it is connected while every notify
		 * returns -ENOTCONN. No dwell -- this is not a slow symptom,
		 * it is two halves of one node disagreeing.
		 */
		if (env.connected &&
		    env.notconn_streak >= BSF_RECOVERY_NOTCONN_STREAK) {
			recover(BSF_RECOVERY_CAUSE_NOTCONN, &env, now_ms,
				now_ms - notify_ok_moved_ms);
			seeded = false;
		}
	}
}

#define GUARD_STACK_SIZE 1024
#define GUARD_PRIORITY   7

K_THREAD_STACK_DEFINE(guard_stack, GUARD_STACK_SIZE);
static struct k_thread guard_thread_data;

void bsf_recovery_start(void)
{
	k_tid_t t = k_thread_create(&guard_thread_data, guard_stack,
				    K_THREAD_STACK_SIZEOF(guard_stack),
				    guard_thread, NULL, NULL, NULL,
				    GUARD_PRIORITY, 0, K_NO_WAIT);

	k_thread_name_set(t, "bsf_recovery");
	LOG_INF("V46 recovery guard started tick=%ums freeze=%ums notconn=%u",
		BSF_RECOVERY_TICK_MS, BSF_RECOVERY_FREEZE_MS,
		BSF_RECOVERY_NOTCONN_STREAK);
}
```

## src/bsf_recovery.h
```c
/*
 * bsf_recovery.h -- v46 wedge recovery guard.
 *
 * WHAT THIS IS FOR
 * ----------------
 * Until v46 the fleet had NO recovery capability, and that is measured rather
 * than assumed: across 169 836 N8 telemetry samples every `reset_reason` is 0
 * (power-on/brownout) or 1 (reset pin) -- never 2 (watchdog), never 4
 * (software). BSFEC35 sat wedged for 5 h 27 min and was rescued by a battery
 * dying, not by any code.
 *
 * WHY A RESET AND NOT A DISCONNECT
 * --------------------------------
 * Measured on BSF6C53, 2026-08-09, phase A invariant 4: a wedged node that is
 * disconnected by the controller does NOT re-advertise. Zero advertising
 * reports across 130 s of scanning, and no reconnection after the master
 * returned to RECV. `bt_conn_disconnect()` converts a wedged-but-reachable
 * node into a wedged-and-invisible one. It is not a recovery action.
 *
 * Wedge #2 says the same thing from the other side: the host had released its
 * `conn` object entirely (state DISCONNECTED, ref=0) while the controller still
 * held the link, so `disconnected()` never ran and `start_advertising()` was
 * never reached. Only a full reset puts host and controller back in agreement.
 *
 * WHERE IT RUNS
 * -------------
 * Its own thread. Not sysworkq, not MPSL Work, not BT RX WQ, not the notify
 * worker, not the publisher -- every one of those is a context a wedge has been
 * observed to take down or park. 1 Hz, atomics and snapshots only, no
 * allocation and no blocking Bluetooth calls.
 *
 * The N8 data says the system workqueue actually survives fleet wedges (a 30 s
 * watchdog fed 1:1 with uptime, never firing across 5.5 h), so this placement
 * is insurance rather than necessity. It costs a stack and a 1 Hz tick, and it
 * covers the one class the fleet data cannot speak for.
 */
#ifndef BSF_RECOVERY_H
#define BSF_RECOVERY_H

#include <stdbool.h>
#include <stdint.h>

/*
 * THE TRIGGER, AND WHY THERE IS NO PRODUCER TERM.
 *
 * v45's arm C required "producer advancing while delivery frozen". That term
 * cannot be evaluated during the events it is meant to catch: in all four fleet
 * wedges the producer counters (`frames`, `imu_records`) are themselves carried
 * by telemetry, so the moment the criterion matters is the moment both inputs
 * stop being observable. Requiring it would have missed four of the five known
 * events.
 *
 * Telemetry is a 1 Hz heartbeat on the same notify path, so a healthy connected
 * board advances notify_ok at >= 1/s with no producer running at all. Frozen
 * delivery on a connected, subscribed link is therefore sufficient on its own.
 */
#define BSF_RECOVERY_FREEZE_MS      12000u
#define BSF_RECOVERY_NOTCONN_STREAK 320u
#define BSF_RECOVERY_GRACE_MS       10000u   /* after connect, before arming  */
#define BSF_RECOVERY_TICK_MS        1000u
#define BSF_RECOVERY_JITTER_MS      500u     /* bounded, node-derived         */
#define BSF_RECOVERY_MAX_STREAK     3u       /* consecutive guard resets      */
#define BSF_RECOVERY_HEALTHY_MS     1800000u /* 30 min clears the streak      */

/* cause codes -- appended only, never renumbered */
#define BSF_RECOVERY_CAUSE_NONE          0u
/*
 * v46r2. What each cause MEANS when it fires in the field:
 *
 *  NOTIFY_FROZEN  attempts advancing, completions frozen >= 12 s on a
 *                 connected+subscribed link. The notify path is broken. This
 *                 is the fleet-wedge signature.
 *  NOTCONN        the node contradicting itself -- the application believes it
 *                 is connected while >= 320 consecutive sends return -ENOTCONN.
 *                 Wedge #2's signature (it reached 19412). No dwell: this is
 *                 an inconsistency, not a slow symptom.
 *
 * IDLE is NOT a cause and never triggers: attempts not advancing means there
 * was nothing to send, which is not a fault. It is enumerated only so the
 * distinction is explicit in the code rather than implied by an absence.
 */
#define BSF_RECOVERY_CAUSE_NOTIFY_FROZEN 1u
#define BSF_RECOVERY_CAUSE_NOTCONN       2u
#define BSF_RECOVERY_CAUSE_IDLE_NOT_A_FAULT 3u

void bsf_recovery_start(void);

/* For V45 STATUS: how many times we recovered, why, and whether we gave up. */
void bsf_recovery_report(uint32_t *resets, uint8_t *cause, uint32_t *frozen_ms,
			 uint8_t *streak, uint8_t *latched);

#endif /* BSF_RECOVERY_H */
```

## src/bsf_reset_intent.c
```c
/* See bsf_reset_intent.h for why the witness is sealed before the reset. */
#include <string.h>

#include <zephyr/kernel.h>
#include <zephyr/init.h>
#include <zephyr/logging/log.h>
#include <zephyr/sys/crc.h>
#include <zephyr/sys/reboot.h>
#include <helpers/nrfx_reset_reason.h>

#include "bsf_reset_intent.h"

LOG_MODULE_REGISTER(bsf_reset_intent, LOG_LEVEL_INF);

#define INTENT_MAGIC 0x52494e54u   /* "RINT" */

struct bsf_reset_intent_state {
	uint32_t magic;
	uint8_t  intent;          /* armed for the NEXT reset               */
	uint8_t  last_intent;     /* what produced THIS boot                */
	uint8_t  pad[2];
	uint32_t unknown_sreq;    /* cumulative, survives soft resets       */
	uint32_t named;           /* cumulative attributed software resets  */
	uint32_t raw_resetreas;   /* raw register value for THIS boot       */
	uint32_t crc32;
};

__attribute__((section(".noinit")))
static struct bsf_reset_intent_state bsf_ri;

static uint32_t ri_crc(void)
{
	return crc32_ieee((const uint8_t *)&bsf_ri,
			  offsetof(struct bsf_reset_intent_state, crc32));
}

static void ri_seal(void)
{
	bsf_ri.magic = INTENT_MAGIC;
	bsf_ri.crc32 = ri_crc();
}

static bool ri_valid(void)
{
	return bsf_ri.magic == INTENT_MAGIC && bsf_ri.crc32 == ri_crc();
}

/*
 * PRE_KERNEL_1, and it READS RESETREAS without clearing it. main.c still owns
 * the clear; nrfx_reset_reason_get() is a plain register read, so doing it
 * twice is safe and this one happens first.
 */
static int bsf_reset_intent_early(void)
{
	uint32_t reas;

	if (!ri_valid()) {
		/* Power-on, or a corrupted witness. Either way nothing here can
		 * be trusted, and a power-on is not an unattributed SREQ. */
		memset(&bsf_ri, 0, sizeof(bsf_ri));
	}

	reas = nrfx_reset_reason_get();
	bsf_ri.raw_resetreas = reas;
	bsf_ri.last_intent = bsf_ri.intent;

	if (reas & NRFX_RESET_REASON_SREQ_MASK) {
		if (bsf_ri.intent == BSF_RESET_INTENT_NONE) {
			bsf_ri.unknown_sreq++;
		} else {
			bsf_ri.named++;
		}
	}

	/* Consumed exactly once: the next reset must stamp its own intent. */
	bsf_ri.intent = BSF_RESET_INTENT_NONE;
	ri_seal();
	return 0;
}
SYS_INIT(bsf_reset_intent_early, PRE_KERNEL_1, 0);

void bsf_reset_intent_mark(uint8_t intent)
{
	bsf_ri.intent = intent;
	ri_seal();
}

void bsf_reset_now(uint8_t intent)
{
	/* Sealed BEFORE the reset. This ordering is the whole point of the
	 * function existing rather than being open-coded at seven call sites. */
	bsf_reset_intent_mark(intent);
	sys_reboot(SYS_REBOOT_COLD);
	CODE_UNREACHABLE;
}

void bsf_reset_intent_report(uint8_t *last_intent, uint32_t *unknown_sreq,
			     uint32_t *raw_resetreas, uint32_t *named)
{
	*last_intent = bsf_ri.last_intent;
	*unknown_sreq = bsf_ri.unknown_sreq;
	*raw_resetreas = bsf_ri.raw_resetreas;
	*named = bsf_ri.named;
}
```

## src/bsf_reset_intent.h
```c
/*
 * bsf_reset_intent.h -- name every software reset, or record that we could not.
 *
 * WHY THIS EXISTS
 * ---------------
 * On 2026-08-09 BSF6C53 took a software reset (`rr=4`) that nothing in the
 * system could account for: the recovery guard had not fired (`rcv=0`), the
 * watchdog had not fired (`dog=0`), the v45 detector had not captured
 * (`present=0`), and `CONFIG_RESET_ON_FATAL_ERROR` is not set. A reset whose
 * originating path cannot be named is not a curiosity, it is a hole in the
 * boot-loop protection: a path that nobody knows about is a path the streak
 * counter does not cover, and during acceptance it is indistinguishable from
 * successful recovery or from a false trigger.
 *
 * THE LIFETIME RULE, WHICH THIS FAMILY HAS ALREADY BROKEN THREE TIMES
 * -------------------------------------------------------------------
 * `bsf_v45_frozen` was in `.bss`. `v45_flash_slot_next` was in `.bss`. The v43
 * corpse wrote its reboot fields after the CRC. Every one of them was a witness
 * whose lifetime was shorter than the event it was meant to witness, and every
 * one had to be found on hardware.
 *
 * So: the intent is written to `.noinit` and SEALED **before** the reset is
 * issued, never after. `bsf_reset_now()` exists precisely so that the ordering
 * cannot be got wrong at a call site -- it writes, seals, then resets.
 *
 * UNKNOWN_SREQ
 * ------------
 * At the earliest boot stage the raw RESETREAS is read (not cleared -- main.c
 * still owns clearing it). If it names SREQ and no intent was recorded, the
 * boot is counted as UNKNOWN_SREQ and reported in `V45 STATUS`. That number is
 * the fleet's answer to "did anything reset a board for a reason we cannot
 * name", and it must be zero before ten boards run overnight.
 */
#ifndef BSF_RESET_INTENT_H
#define BSF_RESET_INTENT_H

#include <stdbool.h>
#include <stdint.h>

/*
 * Append only; never renumber. These are written into `.noinit` and read back
 * across a reset, so a renumber silently reinterprets history.
 *
 * Enumerated from the complete call-site census, 2026-08-09:
 *   1 bsf_recovery.c   recovery guard cold reset          (v46)
 *   2 bsf_v45.c        v45 detector post-capture reboot
 *   3 main.c           stall-ring forward, from an ISR
 *   4 main.c           BT RX monitor wedge reboot
 *   5 main.c           v41 stall recovery
 *   6 main.c           REBOOT control command
 *   7 main.c           MCUboot confirmation timeout rollback
 *   8 SDK              mcumgr os-group reset (DFU). NOT application-owned:
 *                      CONFIG_MCUMGR_GRP_OS_RESET_HOOK is not enabled, so the
 *                      application cannot currently stamp an intent for it.
 *                      Recorded here so the gap is named rather than implied.
 */
#define BSF_RESET_INTENT_NONE            0u
#define BSF_RESET_INTENT_RECOVERY_GUARD  1u
#define BSF_RESET_INTENT_V45_DETECTOR    2u
#define BSF_RESET_INTENT_RING_FWD        3u
#define BSF_RESET_INTENT_BT_MONITOR      4u
#define BSF_RESET_INTENT_STALL_RECOVERY  5u
#define BSF_RESET_INTENT_CMD_REBOOT      6u
#define BSF_RESET_INTENT_BOOT_CONFIRM    7u
#define BSF_RESET_INTENT_DFU             8u
#define BSF_RESET_INTENT__MAX            9u

/*
 * Record the intent and reset. Writes and seals the witness FIRST.
 * Does not return.
 */
void bsf_reset_now(uint8_t intent);

/* Record an intent without resetting -- for paths where the reset is issued by
 * the SDK (DFU) and we only get to stamp our side. */
void bsf_reset_intent_mark(uint8_t intent);

/* For V45 STATUS. `last_intent` is the intent that produced THIS boot. */
void bsf_reset_intent_report(uint8_t *last_intent, uint32_t *unknown_sreq,
			     uint32_t *raw_resetreas, uint32_t *named);

#endif /* BSF_RESET_INTENT_H */
```

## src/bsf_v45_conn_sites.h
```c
/*
 * bsf_v45_conn_sites.h -- an id for every bt_conn_set_state() call site.
 *
 * R4/A2. The BSF6C53 wedge of 2026-08-09 ended with the host connection object
 * released (state=DISCONNECTED, ref=0) and no `disconnected` callback, and the
 * dump could not say WHICH line released it. These ids exist so the next corpse
 * answers that without inference.
 *
 * GENERATED from the PATCHED SDK sources -- which is what actually compiles.
 * Two earlier attempts got the count wrong: first 16 (from a truncated grep),
 * then 23 (from the PRISTINE sources, before the existing v45 patch adds a
 * site). It is 24. Deriving it from the thing that compiles is the fix.
 *
 * APPEND ONLY, never renumber: a corpse decoded against renumbered ids names the
 * wrong line, which is worse than naming none. The line numbers below are
 * documentation; the number is the identity.
 */
#ifndef BSF_V45_CONN_SITES_H
#define BSF_V45_CONN_SITES_H

#define BSF_V45_CONN_SITE_0   0u  /* adv.c:949 -> BT_CONN_ADV_CONNECTABLE */
#define BSF_V45_CONN_SITE_1   1u  /* adv.c:963 -> BT_CONN_ADV_DIR_CONNECTABLE */
#define BSF_V45_CONN_SITE_2   2u  /* adv.c:982 -> BT_CONN_DISCONNECTED */
#define BSF_V45_CONN_SITE_3   3u  /* adv.c:1100 -> BT_CONN_DISCONNECTED */
#define BSF_V45_CONN_SITE_4   4u  /* adv.c:1350 -> BT_CONN_DISCONNECTED */
#define BSF_V45_CONN_SITE_5   5u  /* adv.c:1543 -> BT_CONN_DISCONNECTED */
#define BSF_V45_CONN_SITE_6   6u  /* adv.c:1679 -> BT_CONN_DISCONNECTED */
#define BSF_V45_CONN_SITE_7   7u  /* conn.c:941 -> BT_CONN_DISCONNECT_COMPLETE */
#define BSF_V45_CONN_SITE_8   8u  /* conn.c:945 -> BT_CONN_DISCONNECTED */
#define BSF_V45_CONN_SITE_9   9u  /* conn.c:2036 -> BT_CONN_DISCONNECTING */
#define BSF_V45_CONN_SITE_10  10u  /* conn.c:2059 -> BT_CONN_DISCONNECTED */
#define BSF_V45_CONN_SITE_11  11u  /* conn.c:2549 -> BT_CONN_INITIATING */
#define BSF_V45_CONN_SITE_12  12u  /* conn.c:3795 -> BT_CONN_INITIATING_FILTER_LIST */
#define BSF_V45_CONN_SITE_13  13u  /* conn.c:3801 -> BT_CONN_DISCONNECTED */
#define BSF_V45_CONN_SITE_14  14u  /* conn.c:3832 -> BT_CONN_DISCONNECTED */
#define BSF_V45_CONN_SITE_15  15u  /* conn.c:3926 -> BT_CONN_SCAN_BEFORE_INITIATING */
#define BSF_V45_CONN_SITE_16  16u  /* conn.c:3931 -> BT_CONN_DISCONNECTED */
#define BSF_V45_CONN_SITE_17  17u  /* conn.c:3942 -> BT_CONN_INITIATING */
#define BSF_V45_CONN_SITE_18  18u  /* conn.c:3947 -> BT_CONN_DISCONNECTED */
#define BSF_V45_CONN_SITE_19  19u  /* conn.c:3998 -> BT_CONN_INITIATING */
#define BSF_V45_CONN_SITE_20  20u  /* conn.c:4003 -> BT_CONN_DISCONNECTED */
#define BSF_V45_CONN_SITE_21  21u  /* conn.c:4052 -> BT_CONN_DISCONNECTED */
#define BSF_V45_CONN_SITE_22  22u  /* conn.c:4061 -> BT_CONN_SCAN_BEFORE_INITIATING */
#define BSF_V45_CONN_SITE_23  23u  /* conn.c:4299 -> BT_CONN_SCAN_BEFORE_INITIATING */

#define BSF_V45_CONN_SITE__USED  24u

/* send_buf() failure origins, carried in BSF_V45_TX_SEND_FAIL arg1 */
#define BSF_V45_SEND_SITE_EMSGSIZE      0u   /* buf->len == 0              */
#define BSF_V45_SEND_SITE_EIO           1u   /* bt_buf_has_view            */
#define BSF_V45_SEND_SITE_ENOMEM_PKTS   2u   /* no controller buffer       */
#define BSF_V45_SEND_SITE_ENOMEM_TX     3u   /* conn_tx_alloc failed       */

#endif /* BSF_V45_CONN_SITES_H */
```
